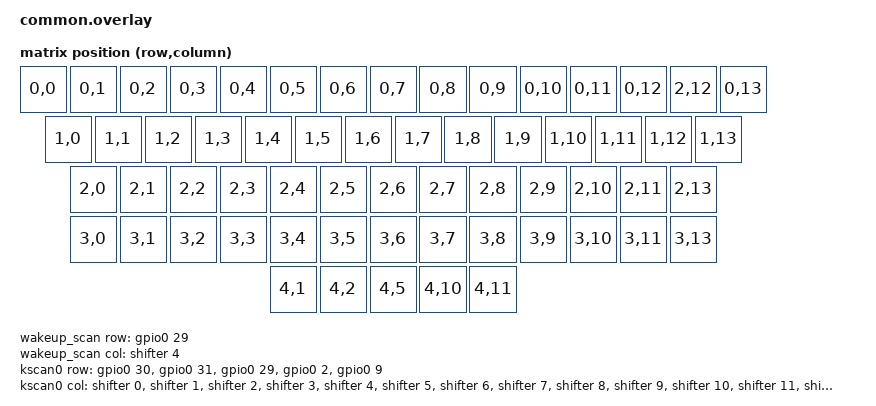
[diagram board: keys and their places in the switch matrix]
#include <dt-bindings/led/led.h>

&pinctrl {
    spi0_default: spi0_default {
        group1 {
            psels = <NRF_PSEL(SPIM_SCK,  1, 13)>,
                    <NRF_PSEL(SPIM_MOSI, 0, 28)>;
        };
    };

    spi0_sleep: spi0_sleep {
        group1 {
            psels = <NRF_PSEL(SPIM_SCK,  1, 13)>,
                    <NRF_PSEL(SPIM_MOSI, 0, 28)>;
            low-power-enable;
        };
    };

    spi3_default: spi3_default {
        group1 {
            psels = <NRF_PSEL(SPIM_MOSI, 0, 6)>;
        };
    };

    spi3_sleep: spi3_sleep {
        group1 {
            psels = <NRF_PSEL(SPIM_MOSI, 0, 6)>;
            low-power-enable;
        };
    };
};

&spi3 {
    compatible = "nordic,nrf-spim";
    status = "okay";

    pinctrl-0 = <&spi3_default>;
    pinctrl-1 = <&spi3_sleep>;
    pinctrl-names = "default", "sleep";

    led_strip: ws2812@0 {
        compatible = "worldsemi,ws2812-spi";

        /* SPI */
        reg = <0>; /* ignored, but necessary for SPI bindings */
        spi-max-frequency = <4000000>;

        /* WS2812 */
        chain-length = <1>; /* arbitrary; change at will */
        spi-one-frame = <0x70>;
        spi-zero-frame = <0x40>;

        color-mapping = <LED_COLOR_ID_GREEN LED_COLOR_ID_RED LED_COLOR_ID_BLUE>;
    };
};

&spi0 {
    compatible = "nordic,nrf-spim";
    pinctrl-0 = <&spi0_default>;
    pinctrl-1 = <&spi0_sleep>;
    pinctrl-names = "default", "sleep";
    status = "okay";
    cs-gpios = <&gpio1 0 GPIO_ACTIVE_LOW>;
    shifter: 595@0 {
        compatible = "zmk,gpio-595";
        status = "okay";
        gpio-controller;
        spi-max-frequency = <8000000>; //default 400K to 8M, for NRF52840, spim3 max 32M, other 8M
        reg = <0>;
        #gpio-cells = <2>;
        ngpios = <16>;
    };
};

/ {
    aliases {
        indicator-r = &led0;
        indicator-g = &led1;
        indicator-b = &led2;
    };
    leds {
        /* P1.11 R, P1.10 G, P0.03 B */
        compatible = "gpio-leds";
        status = "okay";
        led0: led_0 { gpios = <&gpio1 11 GPIO_ACTIVE_LOW>; }; //r
        led1: led_1 { gpios = <&gpio1 10 GPIO_ACTIVE_LOW>; }; //g
        led2: led_2 { gpios = <&gpio0  3 GPIO_ACTIVE_LOW>; }; //b
    };

    /* soft off */
    wakeup_scan: wakeup_scan {
        compatible = "zmk,kscan-gpio-matrix";
        wakeup-source;
        diode-direction = "col2row";
        // KEY F at RC(2,4)
        col-gpios = <&shifter 4 GPIO_ACTIVE_LOW>;
        row-gpios = <&gpio0 29 (GPIO_ACTIVE_LOW | GPIO_PULL_UP)>;
    };
    soft_off_wakers {
        compatible = "zmk,soft-off-wakeup-sources";
        wakeup-sources = <&wakeup_scan>;
    };
    /* end of soft-off */

    chosen {
        zmk,underglow = &led_strip;
        zmk,battery = &vbatt;
        zmk,kscan = &kscan0;
        zmk,physical-layout = &hhkb_layout;
    };

    vbatt: vbatt {
        compatible = "zmk,battery-voltage-divider";
        io-channels = <&adc 3>;
        output-ohms = <2000000>;
        full-ohms = <(2000000 + 820000)>;
    };

    kscan0: kscan_keys {
        compatible = "zmk,kscan-gpio-matrix";
        wakeup-source;
        diode-direction = "col2row";
        col-gpios
            = <&shifter 0 GPIO_ACTIVE_LOW>
            , <&shifter 1 GPIO_ACTIVE_LOW>
            , <&shifter 2 GPIO_ACTIVE_LOW>
            , <&shifter 3 GPIO_ACTIVE_LOW>
            , <&shifter 4 GPIO_ACTIVE_LOW>
            , <&shifter 5 GPIO_ACTIVE_LOW>
            , <&shifter 6 GPIO_ACTIVE_LOW>
            , <&shifter 7 GPIO_ACTIVE_LOW>
            , <&shifter 8 GPIO_ACTIVE_LOW>
            , <&shifter 9 GPIO_ACTIVE_LOW>
            , <&shifter 10 GPIO_ACTIVE_LOW>
            , <&shifter 11 GPIO_ACTIVE_LOW>
            , <&shifter 12 GPIO_ACTIVE_LOW>
            , <&shifter 13 GPIO_ACTIVE_LOW>
            ;
        
        row-gpios
            = <&gpio0 30 (GPIO_ACTIVE_LOW | GPIO_PULL_UP)>
            , <&gpio0 31 (GPIO_ACTIVE_LOW | GPIO_PULL_UP)>
            , <&gpio0 29 (GPIO_ACTIVE_LOW | GPIO_PULL_UP)>
            , <&gpio0  2 (GPIO_ACTIVE_LOW | GPIO_PULL_UP)>
            , <&gpio0  9 (GPIO_ACTIVE_LOW | GPIO_PULL_UP)>
            ;
    };
    
    matrix_transform_all: matrix_transform_all {
        compatible = "zmk,matrix-transform";
        columns = <14>;
        rows = <5>;
        map = <
RC(0,0) RC(0,1) RC(0,2) RC(0,3) RC(0,4) RC(0,5) RC(0,6) RC(0,7) RC(0,8) RC(0,9) RC(0,10) RC(0,11) RC(0,12) RC(2,12) RC(0,13)
RC(1,0)   RC(1,1) RC(1,2) RC(1,3) RC(1,4) RC(1,5) RC(1,6) RC(1,7) RC(1,8) RC(1,9) RC(1,10) RC(1,11) RC(1,12)   RC(1,13)
RC(2,0)     RC(2,1) RC(2,2) RC(2,3) RC(2,4) RC(2,5) RC(2,6) RC(2,7) RC(2,8) RC(2,9) RC(2,10) RC(2,11)        RC(2,13)
RC(3,0)        RC(3,1) RC(3,2) RC(3,3) RC(3,4) RC(3,5) RC(3,6) RC(3,7) RC(3,8) RC(3,9)    RC(3,10)      RC(3,11) RC(3,13)
         RC(4,1)   RC(4,2)                      RC(4,5)                           RC(4,10)   RC(4,11)
        >;
    };
};

//Multi Layouts Defines
                    //                     w   h    x    y     rot    rx    ry
#define ROW0_FIXED    <&key_physical_attrs 100 100    0    0       0     0     0> \
                    , <&key_physical_attrs 100 100  100    0       0     0     0> \
                    , <&key_physical_attrs 100 100  200    0       0     0     0> \
                    , <&key_physical_attrs 100 100  300    0       0     0     0> \
                    , <&key_physical_attrs 100 100  400    0       0     0     0> \
                    , <&key_physical_attrs 100 100  500    0       0     0     0> \
                    , <&key_physical_attrs 100 100  600    0       0     0     0> \
                    , <&key_physical_attrs 100 100  700    0       0     0     0> \
                    , <&key_physical_attrs 100 100  800    0       0     0     0> \
                    , <&key_physical_attrs 100 100  900    0       0     0     0> \
                    , <&key_physical_attrs 100 100 1000    0       0     0     0> \
                    , <&key_physical_attrs 100 100 1100    0       0     0     0> \
                    , <&key_physical_attrs 100 100 1200    0       0     0     0> \

#define ROW0_BS_2U    <&key_physical_attrs 200 100 1301    0       0     0     0> \

#define ROW0_BS_1U    <&key_physical_attrs 100 100 1300    0       0     0     0> \
                    , <&key_physical_attrs 100 100 1400    0       0     0     0> \

#define FIXED_ROWS    <&key_physical_attrs 150 100    0  100       0     0     0> \
                    , <&key_physical_attrs 100 100  150  100       0     0     0> \
                    , <&key_physical_attrs 100 100  250  100       0     0     0> \
                    , <&key_physical_attrs 100 100  350  100       0     0     0> \
                    , <&key_physical_attrs 100 100  450  100       0     0     0> \
                    , <&key_physical_attrs 100 100  550  100       0     0     0> \
                    , <&key_physical_attrs 100 100  650  100       0     0     0> \
                    , <&key_physical_attrs 100 100  750  100       0     0     0> \
                    , <&key_physical_attrs 100 100  850  100       0     0     0> \
                    , <&key_physical_attrs 100 100  950  100       0     0     0> \
                    , <&key_physical_attrs 100 100 1050  100       0     0     0> \
                    , <&key_physical_attrs 100 100 1150  100       0     0     0> \
                    , <&key_physical_attrs 100 100 1250  100       0     0     0> \
                    , <&key_physical_attrs 150 100 1350  100       0     0     0> \
                    , <&key_physical_attrs 175 100    0  200       0     0     0> \
                    , <&key_physical_attrs 100 100  175  200       0     0     0> \
                    , <&key_physical_attrs 100 100  275  200       0     0     0> \
                    , <&key_physical_attrs 100 100  375  200       0     0     0> \
                    , <&key_physical_attrs 100 100  475  200       0     0     0> \
                    , <&key_physical_attrs 100 100  575  200       0     0     0> \
                    , <&key_physical_attrs 100 100  675  200       0     0     0> \
                    , <&key_physical_attrs 100 100  775  200       0     0     0> \
                    , <&key_physical_attrs 100 100  875  200       0     0     0> \
                    , <&key_physical_attrs 100 100  975  200       0     0     0> \
                    , <&key_physical_attrs 100 100 1075  200       0     0     0> \
                    , <&key_physical_attrs 100 100 1175  200       0     0     0> \
                    , <&key_physical_attrs 225 100 1275  200       0     0     0> \
                    , <&key_physical_attrs 225 100    0  300       0     0     0> \
                    , <&key_physical_attrs 100 100  225  300       0     0     0> \
                    , <&key_physical_attrs 100 100  325  300       0     0     0> \
                    , <&key_physical_attrs 100 100  425  300       0     0     0> \
                    , <&key_physical_attrs 100 100  525  300       0     0     0> \
                    , <&key_physical_attrs 100 100  625  300       0     0     0> \
                    , <&key_physical_attrs 100 100  725  300       0     0     0> \
                    , <&key_physical_attrs 100 100  825  300       0     0     0> \
                    , <&key_physical_attrs 100 100  925  300       0     0     0> \
                    , <&key_physical_attrs 100 100 1025  300       0     0     0> \
                    , <&key_physical_attrs 100 100 1125  300       0     0     0> \
                    , <&key_physical_attrs 175 100 1225  300       0     0     0> \
                    , <&key_physical_attrs 100 100 1400  300       0     0     0> \
                    , <&key_physical_attrs 100 100  150  400       0     0     0> \
                    , <&key_physical_attrs 150 100  250  400       0     0     0> \
                    , <&key_physical_attrs 700 100  400  400       0     0     0> \
                    , <&key_physical_attrs 150 100 1100  400       0     0     0> \
                    , <&key_physical_attrs 100 100 1250  400       0     0     0> \


// Base Layout with all keys in matrix.
/ {
    chosen {
        zmk,physical-layout = &layout_all;
    };
    layout_all: layout_all {
        compatible = "zmk,physical-layout";
        display-name = "HHKB(7U)";
        transform = <&matrix_transform_all>;

        keys =    ROW0_FIXED , ROW0_BS_1U
                , FIXED_ROWS;
    };
};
